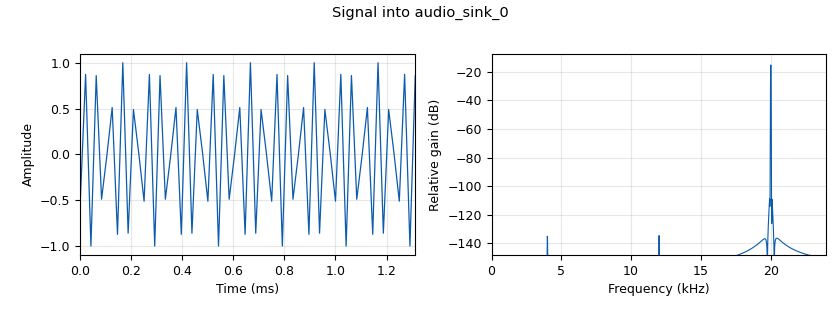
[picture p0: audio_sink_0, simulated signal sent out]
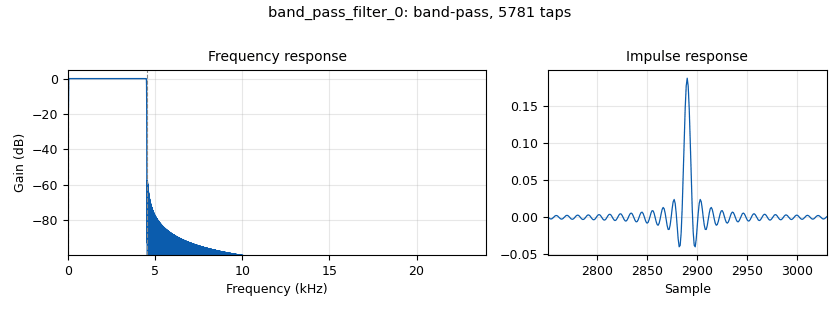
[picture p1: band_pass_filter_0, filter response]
<?xml version='1.0' encoding='utf-8'?>
<flow_graph>
<block>
<key>options</key>
<param><key>id</key><value>top_block</value></param>
<param><key>generate_options</key><value>wx_gui</value></param>
<param><key>category</key><value>Custom</value></param>
</block>
<block>
<key>variable</key>
<param><key>id</key><value>samp_rate</value></param>
<param><key>value</key><value>48000</value></param>
</block>
<block>
<key>variable</key>
<param><key>id</key><value>sonar_freq</value></param>
<param><key>value</key><value>20000</value></param>
</block>
<block>
<key>blocks_float_to_complex</key>
<param><key>id</key><value>blocks_float_to_complex_0_0</value></param>
</block>
<block>
<key>blocks_float_to_complex</key>
<param><key>id</key><value>blocks_float_to_complex_0</value></param>
</block>
<block>
<key>blocks_multiply_xx</key>
<param><key>id</key><value>blocks_multiply_xx_0</value></param>
<param><key>type</key><value>complex</value></param>
</block>
<block>
<key>virtual_source</key>
<param><key>id</key><value>virtual_source_0_2</value></param>
<param><key>stream_id</key><value>sin_src</value></param>
</block>
<block>
<key>audio_source</key>
<param><key>id</key><value>audio_source_0</value></param>
<param><key>samp_rate</key><value>samp_rate</value></param>
</block>
<block>
<key>virtual_source</key>
<param><key>id</key><value>virtual_source_0_0</value></param>
<param><key>stream_id</key><value>cos_src</value></param>
</block>
<block>
<key>audio_sink</key>
<param><key>id</key><value>audio_sink_0</value></param>
<param><key>samp_rate</key><value>samp_rate</value></param>
</block>
<block>
<key>virtual_sink</key>
<param><key>id</key><value>virtual_sink_0_0</value></param>
<param><key>stream_id</key><value>sin_src</value></param>
</block>
<block>
<key>virtual_sink</key>
<param><key>id</key><value>virtual_sink_0</value></param>
<param><key>stream_id</key><value>cos_src</value></param>
</block>
<block>
<key>analog_sig_source_x</key>
<param><key>id</key><value>analog_sig_source_x_0</value></param>
<param><key>type</key><value>float</value></param>
<param><key>samp_rate</key><value>samp_rate</value></param>
<param><key>waveform</key><value>analog.GR_COS_WAVE</value></param>
<param><key>freq</key><value>sonar_freq</value></param>
<param><key>amp</key><value>1</value></param>
<param><key>offset</key><value>0</value></param>
</block>
<block>
<key>analog_sig_source_x</key>
<param><key>id</key><value>analog_sig_source_x_1</value></param>
<param><key>type</key><value>float</value></param>
<param><key>samp_rate</key><value>samp_rate</value></param>
<param><key>waveform</key><value>analog.GR_SIN_WAVE</value></param>
<param><key>freq</key><value>sonar_freq</value></param>
<param><key>amp</key><value>1</value></param>
<param><key>offset</key><value>0</value></param>
</block>
<block>
<key>virtual_source</key>
<param><key>id</key><value>virtual_source_0</value></param>
<param><key>stream_id</key><value>cos_src</value></param>
</block>
<block>
<key>virtual_source</key>
<param><key>id</key><value>virtual_source_0_1</value></param>
<param><key>stream_id</key><value>cos_src</value></param>
</block>
<block>
<key>band_pass_filter</key>
<param><key>id</key><value>band_pass_filter_0</value></param>
<param><key>type</key><value>fir_filter_ccf</value></param>
<param><key>decim</key><value>10</value></param>
<param><key>gain</key><value>1</value></param>
<param><key>samp_rate</key><value>samp_rate</value></param>
<param><key>low_cutoff_freq</key><value>10</value></param>
<param><key>high_cutoff_freq</key><value>4.5e3</value></param>
<param><key>width</key><value>20</value></param>
<param><key>win</key><value>firdes.WIN_HAMMING</value></param>
</block>
<block>
<key>wxgui_waterfallsink2</key>
<param><key>id</key><value>wxgui_waterfallsink2_0</value></param>
<param><key>type</key><value>complex</value></param>
<param><key>title</key><value>Waterfall Plot</value></param>
<param><key>samp_rate</key><value>samp_rate</value></param>
<param><key>baseband_freq</key><value>0</value></param>
<param><key>dynamic_range</key><value>100</value></param>
<param><key>ref_level</key><value>0</value></param>
<param><key>ref_scale</key><value>2.0</value></param>
<param><key>fft_size</key><value>1024</value></param>
<param><key>fft_rate</key><value>100</value></param>
<param><key>average</key><value>False</value></param>
<param><key>avg_alpha</key><value>0</value></param>
<param><key>win</key><value>None</value></param>
<param><key>freqvar</key><value>None</value></param>
</block>
<block>
<key>wxgui_fftsink2</key>
<param><key>id</key><value>wxgui_fftsink2_0</value></param>
<param><key>type</key><value>complex</value></param>
<param><key>title</key><value>FFT Plot</value></param>
<param><key>samp_rate</key><value>samp_rate</value></param>
<param><key>baseband_freq</key><value>0</value></param>
<param><key>y_per_div</key><value>10</value></param>
<param><key>y_divs</key><value>10</value></param>
<param><key>ref_level</key><value>0</value></param>
<param><key>ref_scale</key><value>2.0</value></param>
<param><key>fft_size</key><value>1024</value></param>
<param><key>fft_rate</key><value>100</value></param>
<param><key>peak_hold</key><value>False</value></param>
<param><key>average</key><value>False</value></param>
<param><key>avg_alpha</key><value>0</value></param>
<param><key>win</key><value>None</value></param>
<param><key>freqvar</key><value>None</value></param>
</block>
<connection><source_block_id>blocks_multiply_xx_0</source_block_id><sink_block_id>band_pass_filter_0</sink_block_id><source_key>0</source_key><sink_key>0</sink_key></connection>
<connection><source_block_id>virtual_source_0</source_block_id><sink_block_id>blocks_float_to_complex_0_0</sink_block_id><source_key>0</source_key><sink_key>1</sink_key></connection>
<connection><source_block_id>blocks_float_to_complex_0_0</source_block_id><sink_block_id>blocks_multiply_xx_0</sink_block_id><source_key>0</source_key><sink_key>1</sink_key></connection>
<connection><source_block_id>audio_source_0</source_block_id><sink_block_id>blocks_float_to_complex_0_0</sink_block_id><source_key>0</source_key><sink_key>0</sink_key></connection>
<connection><source_block_id>virtual_source_0_2</source_block_id><sink_block_id>blocks_float_to_complex_0</sink_block_id><source_key>0</source_key><sink_key>1</sink_key></connection>
<connection><source_block_id>virtual_source_0_1</source_block_id><sink_block_id>blocks_float_to_complex_0</sink_block_id><source_key>0</source_key><sink_key>0</sink_key></connection>
<connection><source_block_id>blocks_float_to_complex_0</source_block_id><sink_block_id>blocks_multiply_xx_0</sink_block_id><source_key>0</source_key><sink_key>0</sink_key></connection>
<connection><source_block_id>virtual_source_0_0</source_block_id><sink_block_id>audio_sink_0</sink_block_id><source_key>0</source_key><sink_key>0</sink_key></connection>
<connection><source_block_id>analog_sig_source_x_1</source_block_id><sink_block_id>virtual_sink_0_0</sink_block_id><source_key>0</source_key><sink_key>0</sink_key></connection>
<connection><source_block_id>analog_sig_source_x_0</source_block_id><sink_block_id>virtual_sink_0</sink_block_id><source_key>0</source_key><sink_key>0</sink_key></connection>
<connection><source_block_id>band_pass_filter_0</source_block_id><sink_block_id>wxgui_waterfallsink2_0</sink_block_id><source_key>0</source_key><sink_key>0</sink_key></connection>
<connection><source_block_id>band_pass_filter_0</source_block_id><sink_block_id>wxgui_fftsink2_0</sink_block_id><source_key>0</source_key><sink_key>0</sink_key></connection>
</flow_graph>
